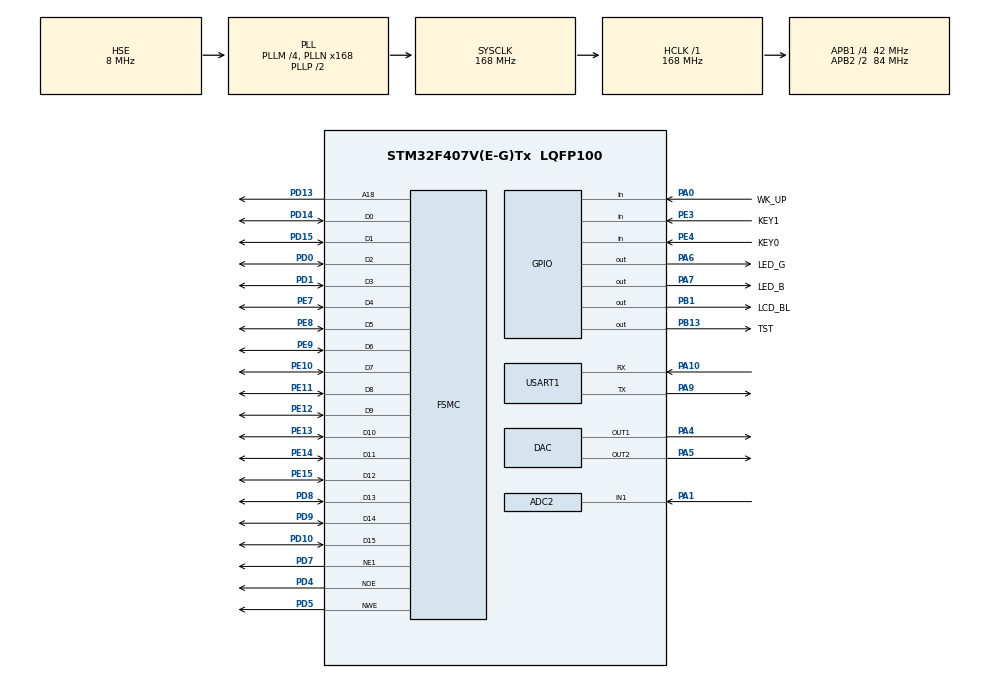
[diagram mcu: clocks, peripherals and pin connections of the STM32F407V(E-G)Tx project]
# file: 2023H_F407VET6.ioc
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ADC2.Channel-0\#ChannelRegularConversion=ADC_CHANNEL_1
ADC2.ClockPrescaler=ADC_CLOCK_SYNC_PCLK_DIV4
ADC2.ExternalTrigConv=ADC_EXTERNALTRIGCONV_T3_TRGO
ADC2.NbrOfConversionFlag=1
ADC2.Rank-0\#ChannelRegularConversion=1
ADC2.SamplingTime-0\#ChannelRegularConversion=ADC_SAMPLETIME_3CYCLES
DAC.DAC_OutputBuffer=DAC_OUTPUTBUFFER_ENABLE
DAC.DAC_OutputBuffer2=DAC_OUTPUTBUFFER_ENABLE
DAC.DAC_Trigger=DAC_TRIGGER_T2_TRGO
DAC.DAC_Trigger2=DAC_TRIGGER_T4_TRGO
Dma.ADC2.0.Direction=DMA_PERIPH_TO_MEMORY
Dma.ADC2.0.FIFOMode=DMA_FIFOMODE_DISABLE
Dma.ADC2.0.Instance=DMA2_Stream2
Dma.ADC2.0.MemDataAlignment=DMA_MDATAALIGN_HALFWORD
Dma.ADC2.0.MemInc=DMA_MINC_ENABLE
Dma.ADC2.0.Mode=DMA_NORMAL
Dma.ADC2.0.PeriphDataAlignment=DMA_PDATAALIGN_HALFWORD
Dma.ADC2.0.PeriphInc=DMA_PINC_DISABLE
Dma.ADC2.0.Priority=DMA_PRIORITY_LOW
Dma.DAC1.1.Direction=DMA_MEMORY_TO_PERIPH
Dma.DAC1.1.FIFOMode=DMA_FIFOMODE_DISABLE
Dma.DAC1.1.Instance=DMA1_Stream5
Dma.DAC1.1.MemDataAlignment=DMA_MDATAALIGN_HALFWORD
Dma.DAC1.1.MemInc=DMA_MINC_ENABLE
Dma.DAC1.1.Mode=DMA_CIRCULAR
Dma.DAC1.1.PeriphDataAlignment=DMA_PDATAALIGN_HALFWORD
Dma.DAC1.1.PeriphInc=DMA_PINC_DISABLE
Dma.DAC1.1.Priority=DMA_PRIORITY_LOW
Dma.DAC2.2.Direction=DMA_MEMORY_TO_PERIPH
Dma.DAC2.2.FIFOMode=DMA_FIFOMODE_DISABLE
Dma.DAC2.2.Instance=DMA1_Stream6
Dma.DAC2.2.MemDataAlignment=DMA_MDATAALIGN_HALFWORD
Dma.DAC2.2.MemInc=DMA_MINC_ENABLE
Dma.DAC2.2.Mode=DMA_CIRCULAR
Dma.DAC2.2.PeriphDataAlignment=DMA_PDATAALIGN_HALFWORD
Dma.DAC2.2.PeriphInc=DMA_PINC_DISABLE
Dma.DAC2.2.Priority=DMA_PRIORITY_LOW
Dma.Request0=ADC2
Dma.Request1=DAC1
Dma.Request2=DAC2
FSMC.AddressSetupTime1=0
FSMC.BusTurnAroundDuration1=15
FSMC.DataSetupTime1=15
FSMC.ExtendedAddressSetupTime1=0
FSMC.ExtendedBusTurnAroundDuration1=15
FSMC.ExtendedDataSetupTime1=1
FSMC.ExtendedMode1=FSMC_EXTENDED_MODE_ENABLE
Mcu.Family=STM32F4
Mcu.Name=STM32F407V(E-G)Tx
Mcu.Package=LQFP100
NVIC.DMA1_Stream5_IRQn=true\:1\:0\:true\:false\:true\:false\:true\:true
NVIC.DMA1_Stream6_IRQn=true\:1\:0\:true\:false\:true\:false\:true\:true
NVIC.DMA2_Stream2_IRQn=true\:1\:0\:true\:false\:true\:false\:true\:true
NVIC.PriorityGroup=NVIC_PRIORITYGROUP_4
NVIC.TIM5_IRQn=true\:2\:0\:true\:false\:true\:true\:true\:true
NVIC.TIM6_DAC_IRQn=true\:1\:0\:true\:false\:true\:true\:true\:true
PA0-WKUP.GPIO_Label=WK_UP
PA0-WKUP.GPIO_PuPd=GPIO_PULLDOWN
PA0-WKUP.Signal=GPIO_Input
PA1.Signal=ADCx_IN1
PA10.Mode=Asynchronous
PA10.Signal=USART1_RX
PA13.Mode=Serial_Wire
PA13.Signal=SYS_JTMS-SWDIO
PA14.Mode=Serial_Wire
PA14.Signal=SYS_JTCK-SWCLK
PA4.Signal=COMP_DAC1_group
PA5.Signal=COMP_DAC2_group
PA6.GPIO_Label=LED_G
PA6.GPIO_PuPd=GPIO_PULLUP
PA6.PinState=GPIO_PIN_SET
PA6.Signal=GPIO_Output
PA7.GPIO_Label=LED_B
PA7.GPIO_PuPd=GPIO_PULLUP
PA7.PinState=GPIO_PIN_SET
PA7.Signal=GPIO_Output
PA9.Mode=Asynchronous
PA9.Signal=USART1_TX
PB1.GPIO_Label=LCD_BL
PB1.GPIO_Speed=GPIO_SPEED_FREQ_HIGH
PB1.Signal=GPIO_Output
PB13.GPIO_Label=TST
PB13.GPIO_Speed=GPIO_SPEED_FREQ_VERY_HIGH
PB13.Signal=GPIO_Output
PC14-OSC32_IN.Mode=LSE-External-Oscillator
PC14-OSC32_IN.Signal=RCC_OSC32_IN
PC15-OSC32_OUT.Mode=LSE-External-Oscillator
PC15-OSC32_OUT.Signal=RCC_OSC32_OUT
PD0.Mode=16b-d1
PD0.Signal=FSMC_D2
PD1.Mode=16b-d1
PD1.Signal=FSMC_D3
PD10.Mode=16b-d1
PD10.Signal=FSMC_D15
PD13.Mode=A18_1
PD13.Signal=FSMC_A18
PD14.Mode=16b-d1
PD14.Signal=FSMC_D0
PD15.Mode=16b-d1
PD15.Signal=FSMC_D1
PD4.Mode=Lcd1
PD4.Signal=FSMC_NOE
PD5.Mode=Lcd1
PD5.Signal=FSMC_NWE
PD7.Mode=NorPsramChipSelect1_1
PD7.Signal=FSMC_NE1
PD8.Mode=16b-d1
PD8.Signal=FSMC_D13
PD9.Mode=16b-d1
PD9.Signal=FSMC_D14
PE10.Mode=16b-d1
PE10.Signal=FSMC_D7
PE11.Mode=16b-d1
PE11.Signal=FSMC_D8
PE12.Mode=16b-d1
PE12.Signal=FSMC_D9
PE13.Mode=16b-d1
PE13.Signal=FSMC_D10
PE14.Mode=16b-d1
PE14.Signal=FSMC_D11
PE15.Mode=16b-d1
PE15.Signal=FSMC_D12
PE3.GPIO_Label=KEY1
PE3.GPIO_PuPd=GPIO_PULLUP
PE3.Signal=GPIO_Input
PE4.GPIO_Label=KEY0
PE4.GPIO_PuPd=GPIO_PULLUP
PE4.Signal=GPIO_Input
PE7.Mode=16b-d1
PE7.Signal=FSMC_D4
PE8.Mode=16b-d1
PE8.Signal=FSMC_D5
PE9.Mode=16b-d1
PE9.Signal=FSMC_D6
PH0-OSC_IN.Mode=HSE-External-Oscillator
PH0-OSC_IN.Signal=RCC_OSC_IN
PH1-OSC_OUT.Mode=HSE-External-Oscillator
PH1-OSC_OUT.Signal=RCC_OSC_OUT
ProjectManager.HeapSize=0x200
ProjectManager.StackSize=0x400
ProjectManager.TargetToolchain=STM32CubeIDE
RCC.48MHZClocksFreq_Value=84000000
RCC.AHBFreq_Value=168000000
RCC.APB1CLKDivider=RCC_HCLK_DIV4
RCC.APB1Freq_Value=42000000
RCC.APB1TimFreq_Value=84000000
RCC.APB2CLKDivider=RCC_HCLK_DIV2
RCC.APB2Freq_Value=84000000
RCC.APB2TimFreq_Value=168000000
RCC.CortexFreq_Value=168000000
RCC.HCLKFreq_Value=168000000
RCC.HSE_VALUE=8000000
RCC.HSI_VALUE=16000000
RCC.PLLM=4
RCC.PLLN=168
RCC.PLLSourceVirtual=RCC_PLLSOURCE_HSE
RCC.SYSCLKFreq_VALUE=168000000
RCC.SYSCLKSource=RCC_SYSCLKSOURCE_PLLCLK
RCC.VCOOutputFreq_Value=336000000
SH.ADCx_IN1.0=ADC2_IN1,IN1
SH.COMP_DAC1_group.0=DAC_OUT1,DAC_OUT1
SH.COMP_DAC2_group.0=DAC_OUT2,DAC_OUT2
STMicroelectronics.X-CUBE-ALGOBUILD.1.4.0.LibraryCcDSPOoLibraryJjDSPOoLibrary=true
TIM2.AutoReloadPreload=TIM_AUTORELOAD_PRELOAD_ENABLE
TIM2.Period=84 - 1
TIM2.Prescaler=2 - 1
TIM2.TIM_MasterOutputTrigger=TIM_TRGO_UPDATE
TIM3.AutoReloadPreload=TIM_AUTORELOAD_PRELOAD_ENABLE
TIM3.Period=84 - 1
TIM3.Prescaler=0
TIM3.TIM_MasterOutputTrigger=TIM_TRGO_UPDATE
TIM4.AutoReloadPreload=TIM_AUTORELOAD_PRELOAD_ENABLE
TIM4.Period=84 - 1
TIM4.Prescaler=2 - 1
TIM4.TIM_MasterOutputTrigger=TIM_TRGO_UPDATE
TIM5.Period=1000 - 1
TIM5.Prescaler=84 - 1
USART1.VirtualMode=VM_ASYNC
VP_STMicroelectronics.X-CUBE-ALGOBUILD_VS_DSPOoLibraryJjLibrary_1.4.0_1.4.0.Mode=DSPOoLibraryJjLibrary
VP_TIM2_VS_ClockSourceINT.Mode=Internal
VP_TIM3_VS_ClockSourceINT.Mode=Internal
VP_TIM4_VS_ClockSourceINT.Mode=Internal
VP_TIM5_VS_ClockSourceINT.Mode=Internal
board=custom

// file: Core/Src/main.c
/* USER CODE BEGIN Header */
/**
  ******************************************************************************
  * @file           : main.c
  * @brief          : Main program body
  ******************************************************************************
  * @attention
  *
  * Copyright (c) 2025 STMicroelectronics.
  * All rights reserved.
  *
  * This software is licensed under terms that can be found in the LICENSE file
  * in the root directory of this software component.
  * If no LICENSE file comes with this software, it is provided AS-IS.
  *
  ******************************************************************************
  */
/* USER CODE END Header */
#include "main.h"
#include "adc.h"
#include "dac.h"
#include "dma.h"
#include "tim.h"
#include "usart.h"
#include "gpio.h"
#include "fsmc.h"

/* USER CODE BEGIN Includes */
#include "../../Drivers/BSP/LCD/lcd.h"
// #include "arm_math.h"
#include "../../Drivers/BSP/KEY/key.h"
#include "../../Drivers/BSP/WAVEFORM/wave.h"
//#include "stdbool.h"

/* USER CODE END Includes */

/* USER CODE BEGIN PD */
#define SAMPLE_SIZE 1000	//采样点
#define SAMPLE_RATE 1000000	//采样率
#define DAC_SIZE 200	//DAC波形缓冲区大小
#define DAC_RATE 500000	//DAC波形输出率
/* USER CODE END PD */

/* USER CODE BEGIN PM */
//void fft_process(float32_t* fft_in, float32_t* mag, float32_t* freq);
//void filter_test();

/* USER CODE END PM */

/* USER CODE BEGIN PV */
uint16_t adc_buffer[SAMPLE_SIZE];	//ADC采样数据缓冲区
uint16_t adc_buffer_enhanced[SAMPLE_SIZE * 2];	//ADC采样数据增强缓冲区

volatile uint8_t AdcConvEnd = 0;		//ADC采样完成标志
volatile uint8_t Dac1ConvEnd = 0;		//DAC1单周期完成标志
volatile uint8_t Dac2ConvEnd = 0;		//DAC1单周期完成标志

volatile uint8_t dac1_adjust_flag = 0;
volatile uint8_t dac2_adjust_flag = 0;

unsigned char frq[2];  //存放计算出来的两个频率
unsigned char wave_type[2];  //存放两频率波形种类（0为正弦波，1为三角波）
uint16_t wave_type_vote[2][2] = {{0,0},{0,0}}; //存放两频率波形种类投票，
uint16_t adjust_count = 0;
uint16_t dac1_buffer[200];	//存放dac1所需样本
uint16_t dac2_buffer[200];	//存放dac1所需样本

uint8_t debounce_count = 0;	//消抖用

uint8_t frq1_update = 0; //频率更新标志，告诉DMA回调函数需要更新频率
uint8_t frq2_update = 0; //频率更新标志，告诉DMA回调函数需要更新频率

volatile uint8_t phase_adjust_flag = 0; //A'B'相位调整标志（提高要求二）
volatile uint8_t phase_adjust_already_flag = 0; //A'B'相位调整已完成标志（提高要求二）
double temp_double_dac2 = 0; //用于存放dac2的延迟时间
uint16_t dac_phase = 0; //A'相对于B'的相位

/* USER CODE END PV */

void SystemClock_Config(void);

int main(void)
{

  /* MCU Configuration--------------------------------------------------------*/

  /* Reset of all peripherals, Initializes the Flash interface and the Systick. */
  HAL_Init();

  /* Configure the system clock */
  SystemClock_Config();

  /* Initialize all configured peripherals */
  MX_GPIO_Init();
  MX_DMA_Init();
  MX_FSMC_Init();
  MX_USART1_UART_Init();
  MX_TIM3_Init();
  MX_ADC2_Init();
  MX_DAC_Init();
  MX_TIM2_Init();
  MX_TIM4_Init();
  MX_TIM5_Init();
  /* USER CODE BEGIN 2 */
  //HAL_TIM_Base_Start_IT(&htim6);
//  lcd_init();
//	printf("hELLO!\r\n");

  HAL_TIM_Base_Start(&htim2);
  HAL_TIM_Base_Start(&htim3);
  HAL_TIM_Base_Start(&htim4);
  HAL_TIM_Base_Start_IT(&htim5); //开启定时器5中断，用于消抖
  HAL_DMA_Start(&hdma_dac1, (uint32_t)&DAC1->DHR12R1, (uint32_t)dac1_buffer, 0);                          /* 配置DMA传输参数 */
  HAL_DMA_Start(&hdma_dac2, (uint32_t)&DAC1->DHR12R1, (uint32_t)dac2_buffer, 0);                          /* 配置DMA传输参数 */

	cal_2frqs(frq); //计算两个信号频率
  cal_2type_enhance(); //计算两频率波形种类

 	  //      printf("frq1 = %dkHz, frq2 = %dkHz\r\n", (frq[0] + 2) * 5, (frq[1] + 2) * 5); //打印两个频率
 	    //初始产生两分离信号
 	for(int i = 0; i < DAC_SIZE; i++){
 		dac1_buffer[i] = DAC_SIN[(2 * i) % 200 + (200 * frq[0])]; //将第一个正弦波的200个点放入dac1_buffer
 	 	dac2_buffer[i] = DAC_SIN[(2 * i) % 200 + (200 * frq[1])]; //将第二个正弦波的200个点放入dac2_buffer
 	}
 	HAL_DAC_Stop_DMA(&hdac, DAC_CHANNEL_1);
 	HAL_DAC_Start_DMA(&hdac, DAC_CHANNEL_1, (uint32_t*)dac1_buffer, (200), DAC_ALIGN_12B_R);
	HAL_DAC_Stop_DMA(&hdac, DAC_CHANNEL_2);
 	HAL_DAC_Start_DMA(&hdac, DAC_CHANNEL_2, (uint32_t*)dac2_buffer, (200), DAC_ALIGN_12B_R);

  /* USER CODE END 2 */

  /* Infinite loop */
  /* USER CODE BEGIN WHILE */
  while (1)
  {
    uint8_t key = key_scan(); //扫描按键
    if(key == WKUP_EVENT){
      // HAL_GPIO_TogglePin(LED_B_GPIO_Port, LED_B_Pin);
      phase_adjust_flag = ~phase_adjust_flag; //设置A'B'相位调整标志（提高要求二）
      phase_adjust_already_flag = 0; //清除A'B'相位调整已完成标志（提高要求二）
    }else if(key == KEY0_EVENT){
      // HAL_GPIO_TogglePin(LED_G_GPIO_Port, LED_G_Pin);
      dac_phase -= 5; //增加A'相对于B'的相位
      printf("dac_phase = %d°\r\n", dac_phase); //打印当前相位
    }else if(key == KEY1_EVENT){
      // HAL_GPIO_TogglePin(LED_B_GPIO_Port, LED_B_Pin);
      dac_phase += 5; //减少A'相对于B'的相位
      printf("dac_phase = %d°\r\n", dac_phase); //打印当前相位
    }

	  if(adjust_count < 10){  //相位每调整十次，更新一次频率
      adjust_count++;
      Dac1ConvEnd = 0;	//清除DAC1单周期完成标志
      while(Dac1ConvEnd == 0) //等待DAC1单周期完成标志，即到达0相位点
        ;
      if(!phase_adjust_flag){
        dac1_phase_adjust();
      }
      // HAL_Delay(1);
//	HAL_GPIO_WritePin(TST_GPIO_Port, TST_Pin, GPIO_PIN_SET);	//dac1相位校正后管脚置1
      Dac2ConvEnd = 0;	//清除DAC2单周期完成标志
      while(Dac2ConvEnd == 0) //等待DAC2单周期完成标志，即到达0相位点
        ;
      dac2_phase_adjust();
      HAL_Delay(3);
    }
    else{
      adjust_count = 0;
	    cal_2frqs(frq); //计算两个信号频率
      cal_2type_enhance(); //计算两频率波形种类

      Dac1ConvEnd = 0;	//清除DAC1单周期完成标志
      while(Dac1ConvEnd == 0) //等待DAC1单周期完成标志，即到达0相位点，准备更新数据
        ;
      frq1_update = 1; //设置频率更新标志，告诉DMA回调函数需要更新频率
      HAL_Delay(1);

      Dac2ConvEnd = 0;	//清除DAC1单周期完成标志
      while(Dac2ConvEnd == 0) //等待DAC1单周期完成标志，即到达0相位点，准备更新数据
        ;
      frq2_update = 1; //设置频率更新标志，告诉DMA回调函数需要更新频率
      HAL_Delay(1);
    }

    /* USER CODE END WHILE */

  }
}

void SystemClock_Config(void)
{
  RCC_OscInitTypeDef RCC_OscInitStruct = {0};
  RCC_ClkInitTypeDef RCC_ClkInitStruct = {0};

  /** Configure the main internal regulator output voltage
  */
  __HAL_RCC_PWR_CLK_ENABLE();
  __HAL_PWR_VOLTAGESCALING_CONFIG(PWR_REGULATOR_VOLTAGE_SCALE1);

  /** Initializes the RCC Oscillators according to the specified parameters
  * in the RCC_OscInitTypeDef structure.
  */
  RCC_OscInitStruct.OscillatorType = RCC_OSCILLATORTYPE_HSE;
  RCC_OscInitStruct.HSEState = RCC_HSE_ON;
  RCC_OscInitStruct.PLL.PLLState = RCC_PLL_ON;
  RCC_OscInitStruct.PLL.PLLSource = RCC_PLLSOURCE_HSE;
  RCC_OscInitStruct.PLL.PLLM = 4;
  RCC_OscInitStruct.PLL.PLLN = 168;
  RCC_OscInitStruct.PLL.PLLP = RCC_PLLP_DIV2;
  RCC_OscInitStruct.PLL.PLLQ = 4;
  if (HAL_RCC_OscConfig(&RCC_OscInitStruct) != HAL_OK)
  {
    Error_Handler();
  }

  /** Initializes the CPU, AHB and APB buses clocks
  */
  RCC_ClkInitStruct.ClockType = RCC_CLOCKTYPE_HCLK|RCC_CLOCKTYPE_SYSCLK
                              |RCC_CLOCKTYPE_PCLK1|RCC_CLOCKTYPE_PCLK2;
  RCC_ClkInitStruct.SYSCLKSource = RCC_SYSCLKSOURCE_PLLCLK;
  RCC_ClkInitStruct.AHBCLKDivider = RCC_SYSCLK_DIV1;
  RCC_ClkInitStruct.APB1CLKDivider = RCC_HCLK_DIV4;
  RCC_ClkInitStruct.APB2CLKDivider = RCC_HCLK_DIV2;

  if (HAL_RCC_ClockConfig(&RCC_ClkInitStruct, FLASH_LATENCY_5) != HAL_OK)
  {
    Error_Handler();
  }
}

/* USER CODE BEGIN 4 */
void HAL_TIM_PeriodElapsedCallback(TIM_HandleTypeDef *htim)
{
	if(htim->Instance == TIM5)
	{
		debounce_count++;	//每1ms自增一次
    // frq_update = 1; //设置频率更新标志，告诉其他任务需要更新频率
	}

}

void HAL_DAC_ConvCpltCallbackCh1(DAC_HandleTypeDef *hdac) {
	Dac1ConvEnd = 1;
  if(frq1_update) {
    frq1_update = 0; //清除频率更新标志
    do_dac1(&dac1_buffer[DAC_SIZE / 2]); //更新dac1_buffer的后半部分数据
  }
}

void HAL_DAC_ConvHalfCpltCallbackCh1(DAC_HandleTypeDef *hdac) {
  if(frq1_update){
	  do_dac1(&dac1_buffer[0]); //更新dac1_buffer的前半部分数据
  }
}

void HAL_DACEx_ConvCpltCallbackCh2(DAC_HandleTypeDef *hdac) {
	Dac2ConvEnd = 1;
  if(frq2_update) {
    frq2_update = 0; //清除频率更新标志
    do_dac2(&dac2_buffer[DAC_SIZE / 2]); //更新dac1_buffer的后半部分数据
  }
}

void HAL_DACEx_ConvHalfCpltCallbackCh2(DAC_HandleTypeDef *hdac) {
  if(frq2_update){
	  do_dac2(&dac2_buffer[0]); //更新dac1_buffer的前半部分数据
  }
}

void do_dac1(uint16_t * dac_buffer){
  if(wave_type[0] == 0){ //如果第一个频率是正弦波
    for(int i = 0; i < (DAC_SIZE / 2); i++){
      dac_buffer[i] = DAC_SIN[(2 * i) % 200 + (200 * frq[0])];
    }
  } else if(wave_type[0] == 1){ //如果第一个频率是三角波
    switch (frq[0])
    {
    case 0:
      for(int i = 0; i < (DAC_SIZE / 2); i++){
        dac_buffer[i] = dac_tri_10k[(2 * i) % 200];
      }
      break;
    case 1:
      for(int i = 0; i < (DAC_SIZE / 2); i++){
        dac_buffer[i] = dac_tri_15k[(2 * i) % 200];
      }
      break;
    case 2:
      for(int i = 0; i < (DAC_SIZE / 2); i++){
        dac_buffer[i] = dac_tri_20k[(2 * i) % 200];
      }
      break;
    case 3:
      for(int i = 0; i < (DAC_SIZE / 2); i++){
        dac_buffer[i] = dac_tri_25k[(2 * i) % 200];
      }
      break;
    case 4:
      for(int i = 0; i < (DAC_SIZE / 2); i++){
        dac_buffer[i] = dac_tri_30k[(2 * i) % 200];
      }
      break;
    case 5:
      for(int i = 0; i < (DAC_SIZE / 2); i++){
        dac_buffer[i] = dac_tri_35k[(2 * i) % 200];
      }
      break;
    case 6:
      for(int i = 0; i < (DAC_SIZE / 2); i++){
        dac_buffer[i] = dac_tri_40k[(2 * i) % 200];
      }
      break;
    case 7:
      for(int i = 0; i < (DAC_SIZE / 2); i++){
        dac_buffer[i] = dac_tri_45k[(2 * i) % 200];
      }
      break;
    case 8:
      for(int i = 0; i < (DAC_SIZE / 2); i++){
        dac_buffer[i] = dac_tri_50k[(2 * i) % 200];
      }
      break;
    case 9:
      for(int i = 0; i < (DAC_SIZE / 2); i++){
        dac_buffer[i] = dac_tri_55k[(2 * i) % 200];
      }
      break;
    case 10:
      for(int i = 0; i < (DAC_SIZE / 2); i++){
        dac_buffer[i] = dac_tri_60k[(2 * i) % 200];
      }
      break;
    case 11:
      for(int i = 0; i < (DAC_SIZE / 2); i++){
        dac_buffer[i] = dac_tri_65k[(2 * i) % 200];
      }
      break;
    case 12:
      for(int i = 0; i < (DAC_SIZE / 2); i++){
        dac_buffer[i] = dac_tri_70k[(2 * i) % 200];
      }
      break;
    case 13:
      for(int i = 0; i < (DAC_SIZE / 2); i++){
        dac_buffer[i] = dac_tri_75k[(2 * i) % 200];
      }
      break;
    case 14:
      for(int i = 0; i < (DAC_SIZE / 2); i++){
        dac_buffer[i] = dac_tri_80k[(2 * i) % 200];
      }
      break;
    case 15:
      for(int i = 0; i < (DAC_SIZE / 2); i++){
        dac_buffer[i] = dac_tri_85k[(2 * i) % 200];
      }
      break;
    case 16:
      for(int i = 0; i < (DAC_SIZE / 2); i++){
        dac_buffer[i] = dac_tri_90k[(2 * i) % 200];
      }
      break;
    case 17:
      for(int i = 0; i < (DAC_SIZE / 2); i++){
        dac_buffer[i] = dac_tri_95k[(2 * i) % 200];
      }
      break;
    case 18:
      for(int i = 0; i < (DAC_SIZE / 2); i++){
        dac_buffer[i] = dac_tri_100k[(2 * i) % 200];
      }
      break;

    default:
      break;
    }
  }
}

void do_dac2(uint16_t * dac_buffer){
  if(wave_type[1] == 0){ //如果第一个频率是正弦波
    for(int i = 0; i < (DAC_SIZE / 2); i++){
      dac_buffer[i] = DAC_SIN[(2 * i) % 200 + (200 * frq[1])];
    }
  } else if(wave_type[1] == 1){ //如果第一个频率是三角波
    switch (frq[1])
    {
    case 0:
      for(int i = 0; i < (DAC_SIZE / 2); i++){
        dac_buffer[i] = dac_tri_10k[(2 * i) % 200];
      }
      break;
    case 1:
      for(int i = 0; i < (DAC_SIZE / 2); i++){
        dac_buffer[i] = dac_tri_15k[(2 * i) % 200];
      }
      break;
    case 2:
      for(int i = 0; i < (DAC_SIZE / 2); i++){
        dac_buffer[i] = dac_tri_20k[(2 * i) % 200];
      }
      break;
    case 3:
      for(int i = 0; i < (DAC_SIZE / 2); i++){
        dac_buffer[i] = dac_tri_25k[(2 * i) % 200];
      }
      break;
    case 4:
      for(int i = 0; i < (DAC_SIZE / 2); i++){
        dac_buffer[i] = dac_tri_30k[(2 * i) % 200];
      }
      break;
    case 5:
      for(int i = 0; i < (DAC_SIZE / 2); i++){
        dac_buffer[i] = dac_tri_35k[(2 * i) % 200];
      }
      break;
    case 6:
      for(int i = 0; i < (DAC_SIZE / 2); i++){
        dac_buffer[i] = dac_tri_40k[(2 * i) % 200];
      }
      break;
    case 7:
      for(int i = 0; i < (DAC_SIZE / 2); i++){
        dac_buffer[i] = dac_tri_45k[(2 * i) % 200];
      }
      break;
    case 8:
      for(int i = 0; i < (DAC_SIZE / 2); i++){
        dac_buffer[i] = dac_tri_50k[(2 * i) % 200];
      }
      break;
    case 9:
      for(int i = 0; i < (DAC_SIZE / 2); i++){
        dac_buffer[i] = dac_tri_55k[(2 * i) % 200];
      }
      break;
    case 10:
      for(int i = 0; i < (DAC_SIZE / 2); i++){
        dac_buffer[i] = dac_tri_60k[(2 * i) % 200];
      }
      break;
    case 11:
      for(int i = 0; i < (DAC_SIZE / 2); i++){
        dac_buffer[i] = dac_tri_65k[(2 * i) % 200];
      }
      break;
    case 12:
      for(int i = 0; i < (DAC_SIZE / 2); i++){
        dac_buffer[i] = dac_tri_70k[(2 * i) % 200];
      }
      break;
    case 13:
      for(int i = 0; i < (DAC_SIZE / 2); i++){
        dac_buffer[i] = dac_tri_75k[(2 * i) % 200];
      }
      break;
    case 14:
      for(int i = 0; i < (DAC_SIZE / 2); i++){
        dac_buffer[i] = dac_tri_80k[(2 * i) % 200];
      }
      break;
    case 15:
      for(int i = 0; i < (DAC_SIZE / 2); i++){
        dac_buffer[i] = dac_tri_85k[(2 * i) % 200];
      }
      break;
    case 16:
      for(int i = 0; i < (DAC_SIZE / 2); i++){
        dac_buffer[i] = dac_tri_90k[(2 * i) % 200];
      }
      break;
    case 17:
      for(int i = 0; i < (DAC_SIZE / 2); i++){
        dac_buffer[i] = dac_tri_95k[(2 * i) % 200];
      }
      break;
    case 18:
      for(int i = 0; i < (DAC_SIZE / 2); i++){
        dac_buffer[i] = dac_tri_100k[(2 * i) % 200];
      }
      break;

    default:
      break;
    }
  }
}

double corr1000_200(uint16_t* data, uint16_t* mask) {
  double res = 0;
  short i;
  for(i = 0; i < SAMPLE_SIZE ; i++)
    res = res + (data[i] - 2048) * (mask[i%200] - 2048);//注意模版要减去直流偏置
  return res;
}

double corr1000_200_enhance(uint16_t* data, uint16_t* mask) {
  double res = 0;
  short i;
  for(i = 0; i < SAMPLE_SIZE * 2; i++)
    res = res + (data[i] - 2048) * (mask[i%200] - 2048);//注意模版要减去直流偏置
  return res;
}

//计算IQ分量的模的长度
double modulus(double I, double Q){
  double temp_double;
  temp_double = sqrt(I*I + Q*Q);
  return temp_double;
}

void cal_2frqs(unsigned char* frq)//计算参与叠加的两个正弦信号的频率
{
    double corr_sin_double;//用于存放C与所有19种正弦相关计算的结果
    double corr_cos_double;//用于存放C与所有19种余弦相关计算的结果
    double mag[19];//用于存放输入信号与所有19种信号相关计算的模
    double temp_double[19],sort_temp;

    unsigned char i,j,temp_char;

    HAL_ADC_Start_DMA(&hadc2, (uint32_t *)adc_buffer, SAMPLE_SIZE); //让ADC1去采集1000个数，存放到adc_buff数组里
	  while (!AdcConvEnd)                                   //等待转换完毕
		  ;
	  AdcConvEnd = 0;

    for(i = 0; i < 19 ; i++)
    {
        corr_sin_double = corr1000_200(adc_buffer, DAC_SIN + 200*i);
        corr_cos_double = corr1000_200(adc_buffer, DAC_COS + 200*i);
        mag[i] = modulus(corr_sin_double, corr_cos_double);
        temp_double[i] = mag[i];
    }
    //冒泡法对大小进行排序
    for (i = 0; i < 19 - 1; i++)
    {
        for (j = 0; j < 19 - i - 1; j++){
                if (temp_double[j] < temp_double[j+1]){
                        sort_temp = temp_double[j];
                        temp_double[j] = temp_double[j+1];
                        temp_double[j+1] = sort_temp;
                }
            }
    }
    //寻找最大值序号
    for (i = 0; i < 19; i++){
        if(mag[i] == temp_double[0])//找到最大数
            frq[0] = i;
        if(mag[i] == temp_double[1])//找到第二大数
            frq[1] = i;
    }
    if(frq[0] > frq[1]) {//把频率低的放在第一个位置，如果颠倒就换一下
        temp_char = frq[0];
        frq[0] = frq[1];
        frq[1] = temp_char;
    }
}

void cal_2type_enhance(){
  for(int i = 0; i < 5; i++){
    cal_2type(frq, wave_type); //计算两个信号波形类型
    if(wave_type[0] == 0){
      wave_type_vote[0][0]++; //如果第一个频率是正弦波，则投票+1
    }else if(wave_type[0] == 1){
      wave_type_vote[0][1]++; //如果第一个频率是三角波，则投票+1
    }

    if(wave_type[1] == 0){
      wave_type_vote[1][0]++; //如果第二个频率是正弦波，则投票+1
    }else if(wave_type[1] == 1){
      wave_type_vote[1][1]++; //如果第二个频率是三角波
    }
  }
  if(wave_type_vote[0][0] >= wave_type_vote[0][1]){ //如果第一个频率的正弦波投票数大于三角波，则认为第一个频率是正弦波
    wave_type[0] = 0;
  }else if(wave_type_vote[0][0] < wave_type_vote[0][1]){ //如果第一个频率的三角波投票数大于正弦波，则认为第一个频率是三角波
    wave_type[0] = 1;
  }

  if(wave_type_vote[1][0] >= wave_type_vote[1][1]){ //如果第二个频率的正弦波投票数大于三角波，则认为第二个频率是正弦波
    wave_type[1] = 0;
  }else if(wave_type_vote[1][0] < wave_type_vote[1][1]){ //如果第二个频率的三角波投票数大于正弦波，则认为第二个频率是三角波
    wave_type[1] = 1;
  }
  wave_type_vote[0][0] = 0; //清除第一个频率的正弦波投票数
  wave_type_vote[0][1] = 0; //清除第一个频率的三角波投票数
  wave_type_vote[1][0] = 0; //清除第二个频率的正弦波投票数
  wave_type_vote[1][1] = 0; //清除第二个频率的三角波投票数

  // printf("frq0 = %d, frq1 = %d\r\n", frq[0], frq[1]); //打印两个频率
  // printf("wave_type0 = %d, wave_type1 = %d\r\n", wave_type[0], wave_type[1]); //打印两个频率波形类型
}

void cal_2type(unsigned char* frq, unsigned char* wave_type){
  //判断A'类型
  double corr_sin_double_A1_Three;//用于存放A'与其三次谐波正弦相关计算的结果
  double corr_cos_double_A1_Three;//用于存放A'与其三次谐波余弦相关计算的结果
  double mag_A1_Three;//用于存放相关计算的模

  HAL_ADC_Start_DMA(&hadc2, (uint32_t *)adc_buffer_enhanced, SAMPLE_SIZE * 2); //让ADC1去采集1000个数，存放到adc_buff数组里
	while (!AdcConvEnd)                                   //等待转换完毕
	  ;
	AdcConvEnd = 0;

  switch (frq[0]) //根据基波频率对三次谐波做相关计算
  {
  case 0:
    corr_sin_double_A1_Three = corr1000_200_enhance(adc_buffer_enhanced, DAC_SIN + 200*4);
    corr_cos_double_A1_Three = corr1000_200_enhance(adc_buffer_enhanced, DAC_COS + 200*4);
    mag_A1_Three = modulus(corr_sin_double_A1_Three, corr_cos_double_A1_Three);
    break;
  case 1:
    corr_sin_double_A1_Three = corr1000_200_enhance(adc_buffer_enhanced, DAC_SIN + 200*7);
    corr_cos_double_A1_Three = corr1000_200_enhance(adc_buffer_enhanced, DAC_COS + 200*7);
    mag_A1_Three = modulus(corr_sin_double_A1_Three, corr_cos_double_A1_Three);
    break;
  case 2:
    corr_sin_double_A1_Three = corr1000_200_enhance(adc_buffer_enhanced, DAC_SIN + 200*10);
    corr_cos_double_A1_Three = corr1000_200_enhance(adc_buffer_enhanced, DAC_COS + 200*10);
    mag_A1_Three = modulus(corr_sin_double_A1_Three, corr_cos_double_A1_Three);
    break;
  case 3:
    corr_sin_double_A1_Three = corr1000_200_enhance(adc_buffer_enhanced, DAC_SIN + 200*13);
    corr_cos_double_A1_Three = corr1000_200_enhance(adc_buffer_enhanced, DAC_COS + 200*13);
    mag_A1_Three = modulus(corr_sin_double_A1_Three, corr_cos_double_A1_Three);
    break;
  case 4:
    corr_sin_double_A1_Three = corr1000_200_enhance(adc_buffer_enhanced, DAC_SIN + 200*16);
    corr_cos_double_A1_Three = corr1000_200_enhance(adc_buffer_enhanced, DAC_COS + 200*16);
    mag_A1_Three = modulus(corr_sin_double_A1_Three, corr_cos_double_A1_Three);
    break;
  case 5:
    corr_sin_double_A1_Three = corr1000_200_enhance(adc_buffer_enhanced, dac_sin_105k);
    corr_cos_double_A1_Three = corr1000_200_enhance(adc_buffer_enhanced, dac_cos_105k);
    mag_A1_Three = modulus(corr_sin_double_A1_Three, corr_cos_double_A1_Three);
    break;
  case 6:
    corr_sin_double_A1_Three = corr1000_200_enhance(adc_buffer_enhanced, dac_sin_120k);
    corr_cos_double_A1_Three = corr1000_200_enhance(adc_buffer_enhanced, dac_cos_120k);
    mag_A1_Three = modulus(corr_sin_double_A1_Three, corr_cos_double_A1_Three);
    break;
  case 7:
    corr_sin_double_A1_Three = corr1000_200_enhance(adc_buffer_enhanced, dac_sin_135k);
    corr_cos_double_A1_Three = corr1000_200_enhance(adc_buffer_enhanced, dac_cos_135k);
    mag_A1_Three = modulus(corr_sin_double_A1_Three, corr_cos_double_A1_Three);
    break;
  case 8:
    corr_sin_double_A1_Three = corr1000_200_enhance(adc_buffer_enhanced, dac_sin_150k);
    corr_cos_double_A1_Three = corr1000_200_enhance(adc_buffer_enhanced, dac_cos_150k);
    mag_A1_Three = modulus(corr_sin_double_A1_Three, corr_cos_double_A1_Three);
    break;
  case 9:
    corr_sin_double_A1_Three = corr1000_200_enhance(adc_buffer_enhanced, dac_sin_165k);
    corr_cos_double_A1_Three = corr1000_200_enhance(adc_buffer_enhanced, dac_cos_165k);
    mag_A1_Three = modulus(corr_sin_double_A1_Three, corr_cos_double_A1_Three);
    break;
  case 10:
    corr_sin_double_A1_Three = corr1000_200_enhance(adc_buffer_enhanced, dac_sin_180k);
    corr_cos_double_A1_Three = corr1000_200_enhance(adc_buffer_enhanced, dac_cos_180k);
    mag_A1_Three = modulus(corr_sin_double_A1_Three, corr_cos_double_A1_Three);
    break;
  case 11:
    corr_sin_double_A1_Three = corr1000_200_enhance(adc_buffer_enhanced, dac_sin_195k);
    corr_cos_double_A1_Three = corr1000_200_enhance(adc_buffer_enhanced, dac_cos_195k);
    mag_A1_Three = modulus(corr_sin_double_A1_Three, corr_cos_double_A1_Three);
    break;
  case 12:
    corr_sin_double_A1_Three = corr1000_200_enhance(adc_buffer_enhanced, dac_sin_210k);
    corr_cos_double_A1_Three = corr1000_200_enhance(adc_buffer_enhanced, dac_cos_210k);
    mag_A1_Three = modulus(corr_sin_double_A1_Three, corr_cos_double_A1_Three);
    break;
  case 13:
    corr_sin_double_A1_Three = corr1000_200_enhance(adc_buffer_enhanced, dac_sin_225k);
    corr_cos_double_A1_Three = corr1000_200_enhance(adc_buffer_enhanced, dac_cos_225k);
    mag_A1_Three = modulus(corr_sin_double_A1_Three, corr_cos_double_A1_Three);
    break;
  case 14:
    corr_sin_double_A1_Three = corr1000_200_enhance(adc_buffer_enhanced, dac_sin_240k);
    corr_cos_double_A1_Three = corr1000_200_enhance(adc_buffer_enhanced, dac_cos_240k);
    mag_A1_Three = modulus(corr_sin_double_A1_Three, corr_cos_double_A1_Three);
    break;
  case 15:
    corr_sin_double_A1_Three = corr1000_200_enhance(adc_buffer_enhanced, dac_sin_255k);
    corr_cos_double_A1_Three = corr1000_200_enhance(adc_buffer_enhanced, dac_cos_255k);
    mag_A1_Three = modulus(corr_sin_double_A1_Three, corr_cos_double_A1_Three);
    break;
  case 16:
    corr_sin_double_A1_Three = corr1000_200_enhance(adc_buffer_enhanced, dac_sin_270k);
    corr_cos_double_A1_Three = corr1000_200_enhance(adc_buffer_enhanced, dac_cos_270k);
    mag_A1_Three = modulus(corr_sin_double_A1_Three, corr_cos_double_A1_Three);
    break;
  case 17:
    corr_sin_double_A1_Three = corr1000_200_enhance(adc_buffer_enhanced, dac_sin_285k);
    corr_cos_double_A1_Three = corr1000_200_enhance(adc_buffer_enhanced, dac_cos_285k);
    mag_A1_Three = modulus(corr_sin_double_A1_Three, corr_cos_double_A1_Three);
    break;
  case 18:
    corr_sin_double_A1_Three = corr1000_200_enhance(adc_buffer_enhanced, dac_sin_300k);
    corr_cos_double_A1_Three = corr1000_200_enhance(adc_buffer_enhanced, dac_cos_300k);
    mag_A1_Three = modulus(corr_sin_double_A1_Three, corr_cos_double_A1_Three);
    break;

  default:
    break;
  }

  double corr_sin_double_A1 = corr1000_200_enhance(adc_buffer_enhanced, DAC_SIN + 200*frq[0]);
  double corr_cos_double_A1 = corr1000_200_enhance(adc_buffer_enhanced, DAC_COS + 200*frq[0]);
  double mag_A1 = modulus(corr_sin_double_A1, corr_cos_double_A1);
  // printf("frq0 = %dkHz, mag_A1 = %.3f, mag_A1_Three = %.3f, mag_A1/ mag_A1_Three = %.3f\r\n", (frq[0] + 2) * 5, mag_A1, mag_A1_Three, mag_A1 / mag_A1_Three);
  if(mag_A1_Three > mag_A1 / 9) { //如果三次谐波的模大于基波模的1/22，则认为是三角波
    wave_type[0] = 1; //三角波
    // printf("frq0 is triangle wave\r\n");
  }
  else {
    wave_type[0] = 0; //正弦波
    // printf("frq0 is sine wave\r\n");
  }

  //判断B'类型
  double corr_sin_double_B1_Three;//用于存放B'与其三次谐波正弦相关计算的结果
  double corr_cos_double_B1_Three;//用于存放B'与其三次谐波余弦相关计算的结果
  double mag_B1_Three;//用于存放相关计算的模

  switch (frq[1]) //根据基波频率对三次谐波做相关计算
  {
  case 0:
    corr_sin_double_B1_Three = corr1000_200_enhance(adc_buffer_enhanced, DAC_SIN + 200*4);
    corr_cos_double_B1_Three = corr1000_200_enhance(adc_buffer_enhanced, DAC_COS + 200*4);
    mag_B1_Three = modulus(corr_sin_double_B1_Three, corr_cos_double_B1_Three);
    break;
  case 1:
    corr_sin_double_B1_Three = corr1000_200_enhance(adc_buffer_enhanced, DAC_SIN + 200*7);
    corr_cos_double_B1_Three = corr1000_200_enhance(adc_buffer_enhanced, DAC_COS + 200*7);
    mag_B1_Three = modulus(corr_sin_double_B1_Three, corr_cos_double_B1_Three);
    break;
  case 2:
    corr_sin_double_B1_Three = corr1000_200_enhance(adc_buffer_enhanced, DAC_SIN + 200*10);
    corr_cos_double_B1_Three = corr1000_200_enhance(adc_buffer_enhanced, DAC_COS + 200*10);
    mag_B1_Three = modulus(corr_sin_double_B1_Three, corr_cos_double_B1_Three);
    break;
  case 3:
    corr_sin_double_B1_Three = corr1000_200_enhance(adc_buffer_enhanced, DAC_SIN + 200*13);
    corr_cos_double_B1_Three = corr1000_200_enhance(adc_buffer_enhanced, DAC_COS + 200*13);
    mag_B1_Three = modulus(corr_sin_double_B1_Three, corr_cos_double_B1_Three);
    break;
  case 4:
    corr_sin_double_B1_Three = corr1000_200_enhance(adc_buffer_enhanced, DAC_SIN + 200*16);
    corr_cos_double_B1_Three = corr1000_200_enhance(adc_buffer_enhanced, DAC_COS + 200*16);
    mag_B1_Three = modulus(corr_sin_double_B1_Three, corr_cos_double_B1_Three);
    break;
  case 5:
    corr_sin_double_B1_Three = corr1000_200_enhance(adc_buffer_enhanced, dac_sin_105k);
    corr_cos_double_B1_Three = corr1000_200_enhance(adc_buffer_enhanced, dac_cos_105k);
    mag_B1_Three = modulus(corr_sin_double_B1_Three, corr_cos_double_B1_Three);
    break;
  case 6:
    corr_sin_double_B1_Three = corr1000_200_enhance(adc_buffer_enhanced, dac_sin_120k);
    corr_cos_double_B1_Three = corr1000_200_enhance(adc_buffer_enhanced, dac_cos_120k);
    mag_B1_Three = modulus(corr_sin_double_B1_Three, corr_cos_double_B1_Three);
    break;
  case 7:
    corr_sin_double_B1_Three = corr1000_200_enhance(adc_buffer_enhanced, dac_sin_135k);
    corr_cos_double_B1_Three = corr1000_200_enhance(adc_buffer_enhanced, dac_cos_135k);
    mag_B1_Three = modulus(corr_sin_double_B1_Three, corr_cos_double_B1_Three);
    break;
  case 8:
    corr_sin_double_B1_Three = corr1000_200_enhance(adc_buffer_enhanced, dac_sin_150k);
    corr_cos_double_B1_Three = corr1000_200_enhance(adc_buffer_enhanced, dac_cos_150k);
    mag_B1_Three = modulus(corr_sin_double_B1_Three, corr_cos_double_B1_Three);
    break;
  case 9:
    corr_sin_double_B1_Three = corr1000_200_enhance(adc_buffer_enhanced, dac_sin_165k);
    corr_cos_double_B1_Three = corr1000_200_enhance(adc_buffer_enhanced, dac_cos_165k);
    mag_B1_Three = modulus(corr_sin_double_B1_Three, corr_cos_double_B1_Three);
    break;
  case 10:
    corr_sin_double_B1_Three = corr1000_200_enhance(adc_buffer_enhanced, dac_sin_180k);
    corr_cos_double_B1_Three = corr1000_200_enhance(adc_buffer_enhanced, dac_cos_180k);
    mag_B1_Three = modulus(corr_sin_double_B1_Three, corr_cos_double_B1_Three);
    break;
  case 11:
    corr_sin_double_B1_Three = corr1000_200_enhance(adc_buffer_enhanced, dac_sin_195k);
    corr_cos_double_B1_Three = corr1000_200_enhance(adc_buffer_enhanced, dac_cos_195k);
    mag_B1_Three = modulus(corr_sin_double_B1_Three, corr_cos_double_B1_Three);
    break;
  case 12:
    corr_sin_double_B1_Three = corr1000_200_enhance(adc_buffer_enhanced, dac_sin_210k);
    corr_cos_double_B1_Three = corr1000_200_enhance(adc_buffer_enhanced, dac_cos_210k);
    mag_B1_Three = modulus(corr_sin_double_B1_Three, corr_cos_double_B1_Three);
    break;
  case 13:
    corr_sin_double_B1_Three = corr1000_200_enhance(adc_buffer_enhanced, dac_sin_225k);
    corr_cos_double_B1_Three = corr1000_200_enhance(adc_buffer_enhanced, dac_cos_225k);
    mag_B1_Three = modulus(corr_sin_double_B1_Three, corr_cos_double_B1_Three);
    break;
  case 14:
    corr_sin_double_B1_Three = corr1000_200_enhance(adc_buffer_enhanced, dac_sin_240k);
    corr_cos_double_B1_Three = corr1000_200_enhance(adc_buffer_enhanced, dac_cos_240k);
    mag_B1_Three = modulus(corr_sin_double_B1_Three, corr_cos_double_B1_Three);
    break;
  case 15:
    corr_sin_double_B1_Three = corr1000_200_enhance(adc_buffer_enhanced, dac_sin_255k);
    corr_cos_double_B1_Three = corr1000_200_enhance(adc_buffer_enhanced, dac_cos_255k);
    mag_B1_Three = modulus(corr_sin_double_B1_Three, corr_cos_double_B1_Three);
    break;
  case 16:
    corr_sin_double_B1_Three = corr1000_200_enhance(adc_buffer_enhanced, dac_sin_270k);
    corr_cos_double_B1_Three = corr1000_200_enhance(adc_buffer_enhanced, dac_cos_270k);
    mag_B1_Three = modulus(corr_sin_double_B1_Three, corr_cos_double_B1_Three);
    break;
  case 17:
    corr_sin_double_B1_Three = corr1000_200_enhance(adc_buffer_enhanced, dac_sin_285k);
    corr_cos_double_B1_Three = corr1000_200_enhance(adc_buffer_enhanced, dac_cos_285k);
    mag_B1_Three = modulus(corr_sin_double_B1_Three, corr_cos_double_B1_Three);
    break;
  case 18:
    corr_sin_double_B1_Three = corr1000_200_enhance(adc_buffer_enhanced, dac_sin_300k);
    corr_cos_double_B1_Three = corr1000_200_enhance(adc_buffer_enhanced, dac_cos_300k);
    mag_B1_Three = modulus(corr_sin_double_B1_Three, corr_cos_double_B1_Three);
    break;

  default:
    break;
  }

  double corr_sin_double_B1 = corr1000_200_enhance(adc_buffer_enhanced, DAC_SIN + 200*frq[1]);
  double corr_cos_double_B1 = corr1000_200_enhance(adc_buffer_enhanced, DAC_COS + 200*frq[1]);
  double mag_B1 = modulus(corr_sin_double_B1, corr_cos_double_B1);
  // printf("frq1 = %dkHz, mag_B1 = %.3f, mag_B1_Three = %.3f, mag_B1 / mag_B1_Three = %.3f\r\n", (frq[1] + 2) * 5, mag_B1, mag_B1_Three, mag_B1 / mag_B1_Three);
  if(mag_B1_Three > mag_B1 / 9) { //如果三次谐波的模大于基波模的1/22，则认为是三角波
    wave_type[1] = 1; //三角波
    // printf("frq1 is triangle wave\r\n");
  }
  else {
    wave_type[1] = 0; //正弦波
    // printf("frq1 is sine wave\r\n");
  }

  //特殊情况特殊判断，根据五次谐波判断
  if(((frq[0] == 0)&&(frq[1] == 4))||((frq[0] == 1)&&(frq[1] == 7))||((frq[0] == 2)&&(frq[1] == 10))||((frq[0] == 3)&&(frq[1] == 13))||((frq[0] == 4)&&(frq[1] == 16))){
    double corr_sin_double_A1_Five;//用于存放A'与其五次谐波正弦相关计算的结果
    double corr_cos_double_A1_Five;//用于存放A'与其五次谐波余弦相关计算的结果
    double mag_A1_Five;//用于存放相关计算的模
    switch (frq[0]) //根据基波频率对五次谐波做相关计算
    {
    case 0:
      corr_sin_double_A1_Five = corr1000_200_enhance(adc_buffer_enhanced, DAC_SIN + 200*8);
      corr_cos_double_A1_Five = corr1000_200_enhance(adc_buffer_enhanced, DAC_COS + 200*8);
      mag_A1_Five = modulus(corr_sin_double_A1_Five, corr_cos_double_A1_Five);
      break;
    case 1:
      corr_sin_double_A1_Five = corr1000_200_enhance(adc_buffer_enhanced, DAC_SIN + 200*13);
      corr_cos_double_A1_Five = corr1000_200_enhance(adc_buffer_enhanced, DAC_COS + 200*13);
      mag_A1_Five = modulus(corr_sin_double_A1_Five, corr_cos_double_A1_Five);
      break;
    case 2:
      corr_sin_double_A1_Five = corr1000_200_enhance(adc_buffer_enhanced, DAC_SIN + 200*18);
      corr_cos_double_A1_Five = corr1000_200_enhance(adc_buffer_enhanced, DAC_COS + 200*18);
      mag_A1_Five = modulus(corr_sin_double_A1_Five, corr_cos_double_A1_Five);
      break;
    case 3:
      corr_sin_double_A1_Five = corr1000_200_enhance(adc_buffer_enhanced, dac_sin_125k);
      corr_cos_double_A1_Five = corr1000_200_enhance(adc_buffer_enhanced, dac_cos_125k);
      mag_A1_Five = modulus(corr_sin_double_A1_Five, corr_cos_double_A1_Five);
      break;
    case 4:
      corr_sin_double_A1_Five = corr1000_200_enhance(adc_buffer_enhanced, dac_sin_150k);
      corr_cos_double_A1_Five = corr1000_200_enhance(adc_buffer_enhanced, dac_cos_150k);
      mag_A1_Five = modulus(corr_sin_double_A1_Five, corr_cos_double_A1_Five);
      break;

    default:
      break;
    }

    // printf("this is special circumstances!\r\nfrq0 = %dkHz, mag_A1 = %.3f, mag_A1_Five = %.3f, mag_A1 / mag_A1_Five = %.3f\r\n", (frq[0] + 2) * 5, mag_A1, mag_A1_Five, mag_A1 / mag_A1_Five);
    if(mag_A1_Five > mag_A1 / 27) { //如果五次谐波的模大于基波模的1/27，则认为是三角波
      wave_type[0] = 1; //三角波
      // printf("frq0 is triangle wave\r\n");
    }
    else {
      wave_type[0] = 0; //正弦波
      // printf("frq0 is sine wave\r\n");
    }

    //A'是三角波时，其三次谐波会影响到B'的判断，所以需要减去A'三次谐波后重新计算B'的基波模，并判断B'的类型
    if(wave_type[0] == 1){
      // printf("frq1 is affected by frq0, recalculating...\r\n");
      mag_B1 = mag_B1 - (mag_A1 / 9); //减去A'三次谐波的模
      if(mag_B1 < 0){
         mag_B1 = 0; //避免负数
      }
      if(mag_B1_Three > mag_B1 / 14) { //如果此时其三次谐波的模仍大于基波模的1/10，则认为是三角波
        wave_type[1] = 1; //三角波
        // printf("the real mag_B1 = %.3f, mag_B1_Three = %.3f, frq1 is triangle wave\r\n", mag_B1, mag_B1_Three);
      }
      else {
        wave_type[1] = 0; //正弦波
        // printf("the real mag_B1 = %.3f, mag_B1_Three = %.3f, frq1 is sine wave\r\n", mag_B1, mag_B1_Three);
      }
    }
  }
}

void dac1_phase_adjust(){
    //计算dac1需要延时的周期数
//	HAL_TIM_Base_Stop(&htim2);	//停止dac1传输定时器
    HAL_ADC_Start_DMA(&hadc2, (uint32_t *)adc_buffer, SAMPLE_SIZE); //让ADC1去采集200个数，存放到adc_buff数组里
    while (!AdcConvEnd)                                   //等待转换完毕
    	;
    AdcConvEnd = 0;
    double temp_double_sin = corr1000_200(adc_buffer, DAC_SIN + 200*frq[0]);
    double temp_double_cos = corr1000_200(adc_buffer, DAC_COS + 200*frq[0]);
    double temp_double_angle = atan2(temp_double_cos, temp_double_sin);
    // int dac1_phase_adjust_clock = phase_adjust(temp_double_angle, 0);
    double pos_angle;//转换为延迟0-2pi，全部为整数的角度
	  uint16_t temp_short;
	  if(temp_double_angle < 0){//atan2函数计算得到的相位差在-pi到pi，但当其小于0时，DAC输出的信号无法提前相位，只能将所有相位全部延迟一个周期，即进行一个周期的求补操作
	      pos_angle = -temp_double_angle;
	  }
	  else{
	      pos_angle = 2*3.1415926 - temp_double_angle;
	  }
	  double temp_double = 4200*pos_angle / (3.1415926*((double)frq[0] + 2));
	  temp_short = temp_double + 0.5;//转换为整数的延迟时间，避免舍入误差

	  uint32_t temp_int = TIM2->CNT;
    // if(phase_adjust_flag){
    //   double temp_double_2 = 4200*(dac_phase + 215) / (180*((double)frq[1] + 2)) + temp_double;
    //   uint16_t temp_short_2 = temp_double_2 + 0.5;//转换为整数的延迟时间，避免舍入误差
    //   temp_int = temp_int + 4294967295 - temp_short_2;
    // }else{
      temp_int = temp_int + 4294967295 - temp_short;
    // }

	  TIM2->CNT = temp_int;
//    TIM6->CNT = 65535 - temp_short;
//    HAL_TIM_Base_Start_IT(&htim6);	//开启延时控制定时器
}

void dac2_phase_adjust(){
    //计算dac2需要延时的周期数
//	  HAL_TIM_Base_Stop(&htim4);	//停止dac2传输定时器
    if(phase_adjust_flag){
      //重启dac1，强制其为0相位
      HAL_DAC_Stop_DMA(&hdac, DAC_CHANNEL_1); //停止dac1的DMA传输
      HAL_DAC_Start_DMA(&hdac, DAC_CHANNEL_1, (uint32_t*)dac1_buffer, (200), DAC_ALIGN_12B_R);
    }
    HAL_ADC_Start_DMA(&hadc2, (uint32_t *)adc_buffer, SAMPLE_SIZE); //让ADC1去采集200个数，存放到adc_buff数组里
    while (!AdcConvEnd)                                   //等待转换完毕
    	;
    AdcConvEnd = 0;
    double temp_double_sin = corr1000_200(adc_buffer, DAC_SIN + 200*frq[1]);
    double temp_double_cos = corr1000_200(adc_buffer, DAC_COS + 200*frq[1]);
    double temp_double_angle = atan2(temp_double_cos, temp_double_sin);
    // int dac2_phase_adjust_clock = phase_adjust(temp_double_angle, 1);
    double pos_angle;//转换为延迟0-2pi，全部为整数的角度
    uint16_t temp_short;
	  if(temp_double_angle < 0){//atan2函数计算得到的相位差在-pi到pi，但当其小于0时，DAC输出的信号无法提前相位，只能将所有相位全部延迟一个周期，即进行一个周期的求补操作
	      pos_angle = -temp_double_angle;
	  }
	  else{
	      pos_angle = 2*3.1415926 - temp_double_angle;
	  }
	  double temp_double = 4200*pos_angle / (3.1415926*((double)frq[1] + 2));
	  temp_short = temp_double + 0.5;//转换为整数的延迟时间，避免舍入误差
	  uint32_t temp_int = TIM4->CNT;
	  temp_int = temp_int + 4294967295 - temp_short;
    TIM4->CNT = temp_int;
    if(phase_adjust_flag){ //如果需要进行相位调整，并且还没有进行过相位调整
      // temp_double_dac2 = temp_double; //保存dac2的延时
      double temp_double_2 = (4200*(dac_phase - 30) / (180*((double)frq[1] + 2))) + temp_double;
      uint16_t temp_short_2 = temp_double_2 + 0.5;//转换为整数的延迟时间，避免舍入误差
      uint32_t temp_int_2 = TIM2->CNT;
      temp_int_2 = temp_int_2 + 4294967295 - temp_short_2;
      TIM2->CNT = temp_int_2; //将dac1的延时也进行相应的调整
      phase_adjust_already_flag =1; //标记已经进行过相位调整
    }
//    TIM7->CNT = 65535 - temp_short;
//    HAL_TIM_Base_Start_IT(&htim7);	//开启延时控制定时器
}

void dac1_phase_adjust_enhance(){
  //计算dac1需要延时的周期数

}

/* USER CODE END 4 */

void Error_Handler(void)
{
  __disable_irq();
  while (1)
  {
  }
}
